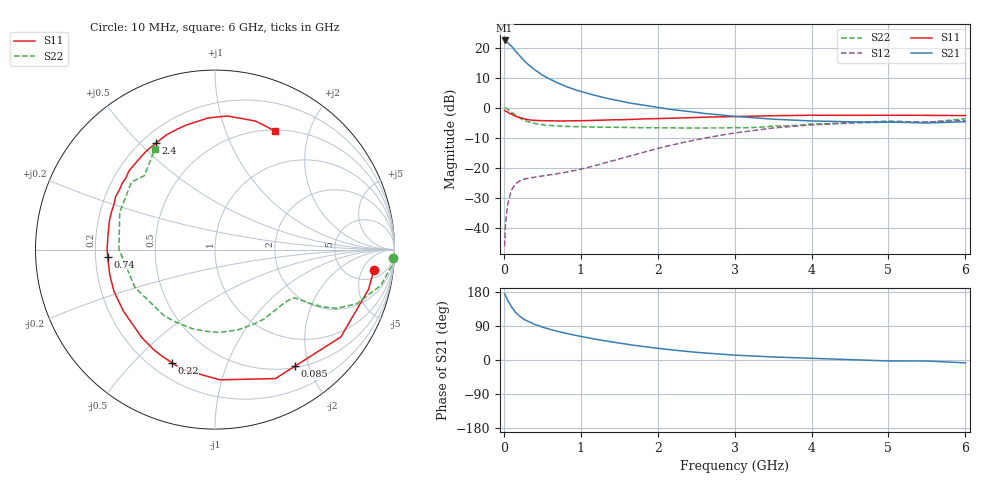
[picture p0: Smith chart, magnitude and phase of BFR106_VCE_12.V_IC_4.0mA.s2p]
! Infineon Technologies  Discrete & RF Semiconductors
! BFR106
! VCE =  12. V,  IC =  4.0 mA
! Common Emitter S-Parameters:  Nov 2015
# GHz  S  MA  R  50
!  f  S11  S21  S12  S22
! GHz  MAG  ANG  MAG  ANG  MAG  ANG  MAG  ANG
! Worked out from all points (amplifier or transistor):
!   210 points, 10 MHz to 6 GHz, reference 50 ohm
!   highest |S21| = 22.4 dB at 10 MHz (marker M1)
!   |S21| within 3 dB of that: start of sweep to 133.3 MHz
!   unconditionally stable (mu >= 1): 672.6 MHz to 1.807 GHz; 4.784 GHz to end of sweep
!   at 185 MHz: K = 0.33, MSG = 21.4 dB, |S12| = -24.8 dB
!   at 1.52 GHz: K = 1.11, MAG = 7.5 dB, |S12| = -17.0 dB
!   at 6 GHz: K = 1.02, MAG = -1.0 dB, |S12| = -4.3 dB
!   S11 on the Smith chart (normalised r, x): 10 MHz: 8, -9; 85 MHz: 0.52, -1.78; 220 MHz: 0.28, -0.65; 740 MHz: 0.25, -0.03; 2.4 GHz: 0.26, +0.56; 6 GHz: 0.52, +1.50
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0.01  0.8926 -7.2  13.19 174.6  0.0049 87.8  0.9945 -2.6
0.02  0.8838 -14.5  12.98 170.8  0.0101 82.2  0.9895 -5.2
0.05  0.8534 -34.8  12.21 157.3  0.0242 71.4  0.9459 -12.1
0.085  0.7875 -55.5  10.97 145.8  0.0367 61.1  0.8748 -18.0
0.1  0.7935 -64.9  10.6 140.1  0.0422 58.6  0.8475 -20.8
0.15  0.7261 -87.8  8.806 125.8  0.0531 48.7  0.7512 -25.8
0.2  0.6914 -105.6  7.473 116.5  0.0592 43.7  0.6807 -28.0
0.22  0.6739 -111.0  7.003 113.6  0.0608 42.1  0.6583 -28.5
0.26  0.6535 -121.6  6.159 107.5  0.0638 39.6  0.618 -29.3
0.3  0.6372 -129.9  5.463 103.0  0.0659 38.4  0.5906 -29.8
0.4  0.6146 -146.1  4.293 94.1  0.0696 37.6  0.5438 -30.5
0.5  0.6093 -157.4  3.5 86.7  0.0726 38.9  0.5174 -31.4
0.6  0.6027 -166.4  2.976 80.8  0.0758 41.5  0.5038 -33.1
0.74  0.599 -176.3  2.458 73.7  0.081 45.8  0.4922 -35.9
1.02  0.6049 168.1  1.83 61.5  0.0955 55.1  0.4792 -42.9
1.4  0.6276 151.9  1.375 47.9  0.1283 64.6  0.4732 -55.0
2.02  0.6573 130.8  0.998 30.4  0.2113 67.2  0.4613 -79.1
2.4  0.6782 119.0  0.866 22.0  0.2742 64.0  0.4581 -96.9
3.1  0.7145 101.1  0.7 11.9  0.3928 51.8  0.4622 -133.1
4.1  0.7464 83.4  0.596 3.8  0.5233 30.7  0.5359 175.5
5.1  0.7486 71.4  0.571 -2.5  0.5742 12.8  0.5919 139.6
6  0.7382 63.3  0.583 -7.5  0.6116 0.7  0.6544 120.6
